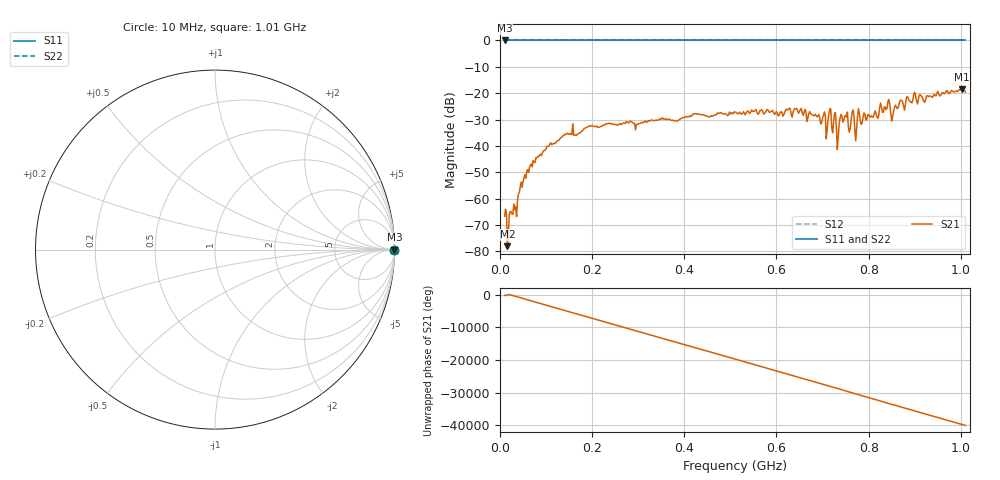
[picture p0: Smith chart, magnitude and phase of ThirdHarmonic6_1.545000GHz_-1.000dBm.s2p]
! 8/16/2025 6:19:57 PM
! C:\ANRITSUVNA\TEMP\TEMP.S2P
! CHANNEL.1
! TR.MEASUREMENT
! RAW.DATA
! RF.CORRECTION.OFF
! AVERAGING.OFF
! IF.BANDWIDTH: 5KHZ
! SWEEPTYPE:  FREQ.SWEEP(Linear)
! Reference Plane Port Info
! PORT:  PORT1  PORT2
! DISTANCE:  0  m  0  m
! TIME:  0  s  0  s
! PHASE.OFFSET:  0  deg.  0  deg.
! LOSS:  0  dB  0  dB
! REF.LOSS:  0  dB  0  dB
! REF.FREQ:  0  Hz  0  Hz
! Power Info
! POWER:  -20  dBm  -20  dBm
! EFF.POWER:  -20  dBm  -20  dBm
! SOURCE.ATTEN:  0  dB  0  dB
! TEST.ATTEN:  0  dB  0  dB
# GHZ S RI R 50.0
! FREQ.GHZ  S11RE  S11IM  S21RE  S21IM  S12RE  S12IM  S22RE  S22IM
!; PortSelection: Port_12
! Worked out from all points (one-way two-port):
!   501 points, 10 MHz to 1.01 GHz, reference 50 ohm
!   highest |S21| = -18.47 dB at 1.002 GHz (marker M1); lowest = -78.0 dB at 16 MHz (marker M2)
!   lowest |S11| = 0.0 dB at 10 MHz (marker M3)
!   |S11| at or under -10 dB: nowhere
!   |S22| runs from 0.0 to 0.0 dB; largest |S21 - S12| = 1.1
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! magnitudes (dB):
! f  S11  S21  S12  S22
! 10 MHz  0.0  -66.7  0.0  0.0
! 16 MHz  0.0  -78.0  0.0  0.0
! 36 MHz  0.0  -66.8  0.0  0.0
! 56 MHz  0.0  -52.2  0.0  0.0
! 82 MHz  0.0  -44.0  0.0  0.0
! 142 MHz  0.0  -35.8  0.0  0.0
! 178 MHz  0.0  -34.3  0.0  0.0
! 344 MHz  0.0  -30.2  0.0  0.0
! 510 MHz  0.0  -27.2  0.0  0.0
! 678 MHz  0.0  -28.2  0.0  0.0
! 710 MHz  0.0  -34.1  0.0  0.0
! 716 MHz  0.0  -25.8  0.0  0.0
! 734 MHz  0.0  -36.8  0.0  0.0
! 740 MHz  0.0  -28.1  0.0  0.0
! 750 MHz  0.0  -28.4  0.0  0.0
! 772 MHz  0.0  -38.0  0.0  0.0
! 780 MHz  0.0  -27.8  0.0  0.0
! 844 MHz  0.0  -22.4  0.0  0.0
! 852 MHz  0.0  -28.9  0.0  0.0
! 886 MHz  0.0  -22.0  0.0  0.0
! 1.002 GHz  0.0  -18.5  0.0  0.0
! 1.01 GHz  0.0  -19.5  0.0  0.0
